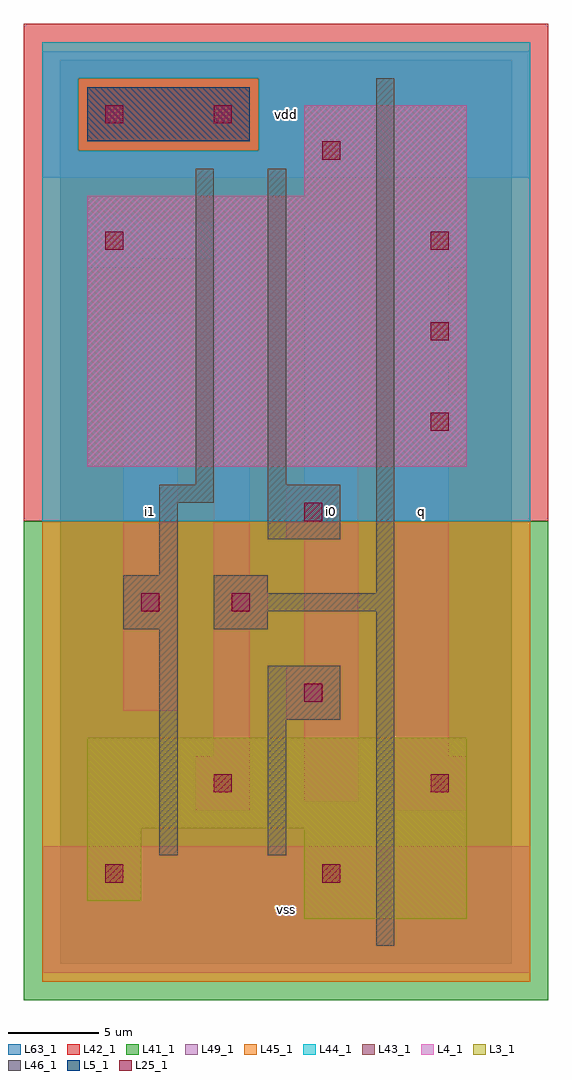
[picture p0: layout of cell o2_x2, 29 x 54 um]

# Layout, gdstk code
import gdstk
lib = gdstk.Library(unit=1e-6, precision=1e-09)
def R(c, l, rs):  # rectangles x0, y0, x1, y1
    for r in rs: c.add(gdstk.rectangle(r[:2], r[2:], *l))
def A(c, l, x, y, w, h, nx, ny, dx, dy):  # array of equal rectangles
    R(c, l, [(x+i*dx, y+j*dy, x+i*dx+w, y+j*dy+h) for i in range(nx) for j in range(ny)])
L3_1 = (3, 1)
L4_1 = (4, 1)
L5_1 = (5, 1)
L25_1 = (25, 1)
L41_1 = (41, 1)
L42_1 = (42, 1)
L43_1 = (43, 1)
L44_1 = (44, 1)
L45_1 = (45, 1)
L46_1 = (46, 1)
L49_1 = (49, 1)
L63_1 = (63, 1)

o2_x2 = lib.new_cell('o2_x2')
R(o2_x2, L3_1, [(13.5,2.5,22.5,7.5), (1.5,3.5,4.5,7.5), (1.5,7.5,22.5,12.5)])
R(o2_x2, L4_1, [(1.5,27.5,22.5,42.5), (13.5,42.5,22.5,47.5)])
R(o2_x2, L5_1, [(1.5,45.5,10.5,48.5)])
A(o2_x2, L25_1, 20.5, 29.5, 1, 1, 1, 3, 0, 5)
R(o2_x2, L25_1, [(2.5,4.5,3.5,5.5), (14.5,4.5,15.5,5.5), (8.5,9.5,9.5,10.5), (20.5,9.5,21.5,10.5), (13.5,14.5,14.5,15.5), (4.5,19.5,5.5,20.5), (9.5,19.5,10.5,20.5), (13.5,24.5,14.5,25.5), (2.5,39.5,3.5,40.5), (14.5,44.5,15.5,45.5), (2.5,46.5,3.5,47.5), (8.5,46.5,9.5,47.5)])
R(o2_x2, L41_1, [(-2,-2,27,24.5)])
R(o2_x2, L42_1, [(-2,24.5,27,52)])
R(o2_x2, L43_1, [(13.5,2.5,22.5,7.5), (1.5,3.5,4.5,7.5), (1.5,7.5,22.5,12.5), (1.5,27.5,22.5,42.5), (13.5,42.5,22.5,47.5), (1.5,45.5,10.5,48.5)])
R(o2_x2, L44_1, [(-1,24.5,26,45), (-1,45,1,49), (11,45,26,49), (-1,49,26,51)])
R(o2_x2, L45_1, [(-1,-1,26,24.5), (1,45,11,49)])
R(o2_x2, L46_1, [(17.5,1,18.5,19.5), (5.5,6,6.5,18.5), (11.5,6,12.5,13.5), (11.5,13.5,15.5,16.5), (3.5,18.5,6.5,21.5), (8.5,18.5,11.5,19.5), (8.5,19.5,18.5,20.5), (8.5,20.5,11.5,21.5), (17.5,20.5,18.5,49), (5.5,21.5,6.5,25.5), (11.5,23.5,15.5,26.5), (5.5,25.5,8.5,26.5), (7.5,26.5,8.5,44), (11.5,26.5,12.5,44)])
A(o2_x2, L49_1, 18.5, 28.5, 4, 3, 1, 3, 0, 5)
R(o2_x2, L49_1, [(-1,-0.5,26,6.5), (7.5,8.5,10.5,11.5), (18.5,8.5,22.5,11.5), (13.5,9,16.5,13.5), (8.5,11.5,10.5,18.5), (18.5,11.5,21.5,28.5), (12.5,13.5,16.5,16.5), (3.5,14,6.5,36), (13.5,16.5,16.5,23.5), (8.5,18.5,11.5,21.5), (8.5,21.5,10.5,39), (12.5,23.5,16.5,26.5), (13.5,26.5,16.5,41), (18.5,31.5,21.5,33.5), (18.5,36.5,21.5,38.5), (1.5,38.5,4.5,39), (1.5,39,10.5,41), (1.5,41,4.5,41.5), (-1,43.5,26,50.5)])
R(o2_x2, L63_1, [(0,0,25,50)])
o2_x2.add(gdstk.Label('i1', (5,25), layer=49, texttype=1))
o2_x2.add(gdstk.Label('i1', (5,25), layer=49, texttype=1))
o2_x2.add(gdstk.Label('vss', (12.5,3), layer=49, texttype=1))
o2_x2.add(gdstk.Label('vss', (12.5,3), layer=49, texttype=1))
o2_x2.add(gdstk.Label('i0', (15,25), layer=49, texttype=1))
o2_x2.add(gdstk.Label('i0', (15,25), layer=49, texttype=1))
o2_x2.add(gdstk.Label('vdd', (12.5,47), layer=49, texttype=1))
o2_x2.add(gdstk.Label('vdd', (12.5,47), layer=49, texttype=1))
o2_x2.add(gdstk.Label('q', (20,25), layer=49, texttype=1))
o2_x2.add(gdstk.Label('q', (20,25), layer=49, texttype=1))

lib.write_gds('o2_x2.gds')
